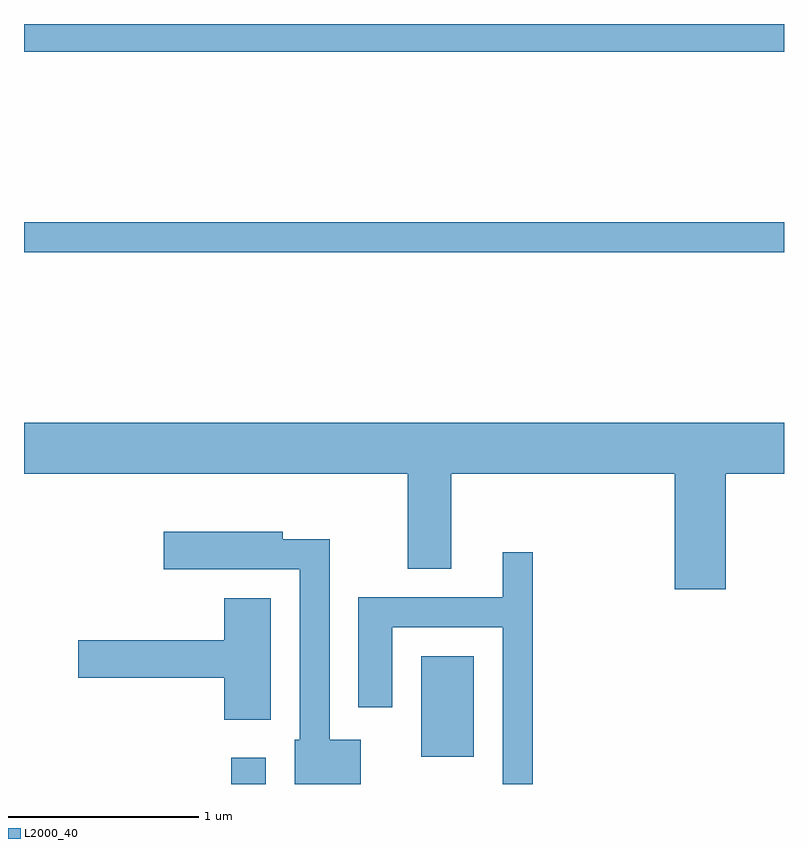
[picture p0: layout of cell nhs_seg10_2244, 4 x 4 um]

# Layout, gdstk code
import gdstk
lib = gdstk.Library(unit=1e-6, precision=1e-09)
def R(c, l, rs):  # rectangles x0, y0, x1, y1
    for r in rs: c.add(gdstk.rectangle(r[:2], r[2:], *l))
def P(c, l, *ps):  # polygons
    for p in ps: c.add(gdstk.Polygon(p, *l))
L2000_40 = (2000, 40)

nhs_seg10_2244 = lib.new_cell('nhs_seg10_2244')
R(nhs_seg10_2244, L2000_40, [(252.701,2094.522,252.884,2094.659), (253.701,2094.666,253.979,2095.194), (251.611,2097.321,255.611,2097.479), (251.611,2098.376,255.611,2098.522)])
P(nhs_seg10_2244, L2000_40, [(255.304,2096.156),(255.611,2096.156),(255.611,2096.424),(251.611,2096.424),(251.611,2096.156),(253.631,2096.156),(253.631,2095.656),(253.859,2095.656),(253.859,2096.156),(255.036,2096.156),(255.036,2095.546),(255.304,2095.546)],
  [(253.384,2094.754),(253.219,2094.754),(253.219,2095.809),(252.974,2095.809),(252.974,2095.849),(252.346,2095.849),(252.346,2095.651),(253.061,2095.651),(253.061,2094.754),(253.036,2094.754),(253.036,2094.522),(253.384,2094.522)],
  [(254.289,2095.742),(254.131,2095.742),(254.131,2095.504),(253.371,2095.504),(253.371,2094.926),(253.549,2094.926),(253.549,2095.346),(254.131,2095.346),(254.131,2094.522),(254.289,2094.522)],
  [(252.909,2095.499),(252.666,2095.499),(252.666,2095.279),(251.896,2095.279),(251.896,2095.081),(252.666,2095.081),(252.666,2094.861),(252.909,2094.861)])

lib.write_gds('nhs_seg10_2244.gds')
